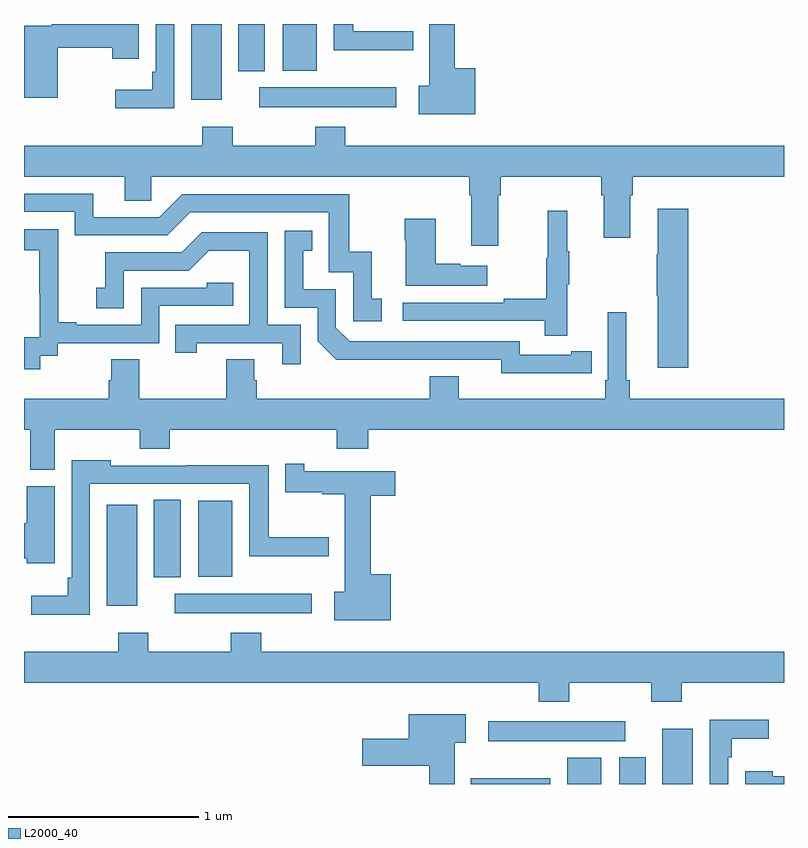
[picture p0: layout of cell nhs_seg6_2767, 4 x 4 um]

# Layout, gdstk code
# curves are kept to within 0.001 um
import gdstk
lib = gdstk.Library(unit=1e-6, precision=1e-09)
def R(c, l, rs):  # rectangles x0, y0, x1, y1
    for r in rs: c.add(gdstk.rectangle(r[:2], r[2:], *l))
def P(c, l, *ps):  # polygons
    for p in ps: c.add(gdstk.Polygon(p, *l))
L2000_40 = (2000, 40)

nhs_seg6_2767 = lib.new_cell('nhs_seg6_2767')
R(nhs_seg6_2767, L2000_40, [(277.352,917.5,277.771,917.531), (277.859,917.5,278.038,917.638), (278.132,917.5,278.272,917.641), (278.36,917.5,278.521,917.791), (277.443,917.726,278.164,917.83), (275.793,918.398,276.514,918.502), (275.435,918.438,275.596,918.97), (275.684,918.587,275.824,918.995), (275.918,918.59,276.097,918.991), (276.237,921.062,276.958,921.166), (275.879,921.102,276.04,921.5), (276.128,921.251,276.268,921.5), (276.362,921.254,276.541,921.5)])
P(nhs_seg6_2767, L2000_40, [(277.375,921.268),(277.268,921.268),(277.268,921.5),(277.133,921.5),(277.133,921.176),(277.077,921.176),(277.077,921.026),(277.375,921.026)],
  [(275.178,921.376),(275.464,921.376),(275.464,921.318),(275.605,921.318),(275.605,921.5),(275.146,921.5),(275.146,921.492),(275,921.492),(275,921.111),(275.178,921.111)],
  [(277.048,921.462),(276.733,921.462),(276.733,921.5),(276.629,921.5),(276.629,921.362),(277.048,921.362)],
  [(275.79,921.5),(275.694,921.5),(275.694,921.25),(275.674,921.25),(275.674,921.154),(275.481,921.154),(275.481,921.056),(275.79,921.056)],
  [(277.495,920.6),(277.508,920.6),(277.508,920.696),(278.039,920.696),(278.039,920.6),(278.051,920.6),(278.051,920.376),(278.191,920.376),(278.191,920.6),(278.204,920.6),(278.204,920.696),(279,920.696),(279,920.86),(276.692,920.86),(276.692,920.959),(276.532,920.959),(276.532,920.86),(276.099,920.86),(276.099,920.959),(275.939,920.959),(275.939,920.86),(275,920.86),(275,920.696),(275.531,920.696),(275.531,920.569),(275.67,920.569),(275.67,920.696),(277.343,920.696),(277.343,920.6),(277.355,920.6),(277.355,920.334),(277.495,920.334)],
  [(276.883,920.055),(276.83,920.055),(276.83,920.302),(276.712,920.302),(276.712,920.604),(275.832,920.604),(275.712,920.484),(275.365,920.484),(275.365,920.607),(275,920.607),(275,920.511),(275.268,920.511),(275.268,920.388),(275.754,920.388),(275.874,920.508),(276.603,920.508),(276.603,920.193),(276.732,920.193),(276.732,919.935),(276.883,919.935)],
  [(278.495,920.527),(278.336,920.527),(278.336,920.288),(278.329,920.288),(278.329,920.071),(278.336,920.071),(278.336,919.692),(278.495,919.692)],
  [(277.859,920.131),(277.87,920.131),(277.87,920.305),(277.859,920.305),(277.859,920.518),(277.756,920.518),(277.756,920.268),(277.749,920.268),(277.749,920.054),(277.525,920.054),(277.525,920.034),(276.993,920.034),(276.993,919.938),(277.741,919.938),(277.741,919.86),(277.859,919.86)],
  [(277.438,920.227),(277.295,920.227),(277.295,920.237),(277.168,920.237),(277.168,920.476),(277.003,920.476),(277.003,920.363),(277.01,920.363),(277.01,920.123),(277.438,920.123)],
  [(275.086,919.753),(275.178,919.753),(275.178,919.821),(275.712,919.821),(275.712,920.016),(276.101,920.016),(276.101,920.139),(275.961,920.139),(275.961,920.112),(275.616,920.112),(275.616,919.917),(275.275,919.917),(275.275,919.93),(275.18,919.93),(275.18,920.213),(275.181,920.213),(275.181,920.419),(275,920.419),(275,920.309),(275.081,920.309),(275.081,920.081),(275.082,920.081),(275.082,919.851),(275,919.851),(275,919.683),(275.086,919.683)],
  [(277.88,919.662),(277.988,919.662),(277.988,919.778),(277.88,919.778),(277.88,919.758),(277.608,919.758),(277.608,919.83),(276.714,919.83),(276.642,919.902),(276.642,920.103),(276.469,920.103),(276.469,920.307),(276.518,920.307),(276.518,920.413),(276.372,920.413),(276.372,920.007),(276.546,920.007),(276.546,919.83),(276.644,919.733),(277.512,919.734),(277.512,919.661)],
  [(276.456,919.917),(276.282,919.917),(276.282,920.403),(275.936,920.403),(275.831,920.298),(275.428,920.298),(275.428,920.113),(275.379,920.113),(275.379,920.004),(275.526,920.004),(275.526,920.202),(275.868,920.202),(275.972,920.306),(276.186,920.306),(276.186,919.917),(275.797,919.917),(275.797,919.77),(275.908,919.77),(275.908,919.821),(276.359,919.821),(276.359,919.71),(276.456,919.71)],
  [(275.161,919.364),(275.608,919.364),(275.608,919.265),(275.768,919.265),(275.768,919.364),(276.647,919.364),(276.647,919.265),(276.812,919.265),(276.812,919.364),(279,919.364),(279,919.528),(278.189,919.528),(278.189,919.624),(278.17,919.624),(278.17,919.984),(278.073,919.984),(278.073,919.624),(278.06,919.624),(278.06,919.528),(277.288,919.528),(277.288,919.645),(277.136,919.645),(277.136,919.528),(276.224,919.528),(276.224,919.626),(276.211,919.626),(276.211,919.736),(276.064,919.736),(276.064,919.528),(275.607,919.528),(275.607,919.736),(275.459,919.736),(275.459,919.626),(275.447,919.626),(275.447,919.528),(275,919.528),(275,919.364),(275.033,919.364),(275.033,919.153),(275.161,919.153)],
  [(275.346,919.08),(276.185,919.08),(276.185,918.698),(276.604,918.698),(276.604,918.798),(276.289,918.798),(276.289,919.178),(275.851,919.178),(275.851,919.176),(275.457,919.176),(275.457,919.204),(275.25,919.204),(275.25,918.586),(275.23,918.586),(275.23,918.49),(275.037,918.49),(275.037,918.392),(275.346,918.392)],
  [(276.931,918.604),(276.824,918.604),(276.824,919.018),(276.955,919.018),(276.955,919.147),(276.474,919.147),(276.474,919.186),(276.374,919.186),(276.374,919.036),(276.57,919.036),(276.57,919.025),(276.689,919.025),(276.689,918.512),(276.633,918.512),(276.633,918.362),(276.931,918.362)],
  [(275.161,919.068),(275.015,919.068),(275.015,918.872),(275,918.872),(275,918.689),(275.015,918.689),(275.015,918.662),(275.161,918.662)],
  [(277.869,918.032),(278.302,918.032),(278.302,917.933),(278.462,917.933),(278.462,918.032),(279,918.032),(279,918.196),(276.248,918.196),(276.248,918.295),(276.088,918.295),(276.088,918.196),(275.655,918.196),(275.655,918.295),(275.495,918.295),(275.495,918.196),(275,918.196),(275,918.032),(277.709,918.032),(277.709,917.933),(277.869,917.933)],
  [(277.267,917.717),(277.324,917.717),(277.324,917.866),(277.025,917.866),(277.025,917.739),(276.78,917.739),(276.78,917.597),(277.133,917.597),(277.133,917.5),(277.267,917.5)],
  [(278.706,917.642),(278.726,917.642),(278.726,917.738),(278.92,917.738),(278.92,917.837),(278.61,917.837),(278.61,917.5),(278.706,917.5)],
  [(279,917.54),(278.942,917.54),(278.942,917.566),(278.795,917.566),(278.795,917.5),(279,917.5)])

lib.write_gds('nhs_seg6_2767.gds')
